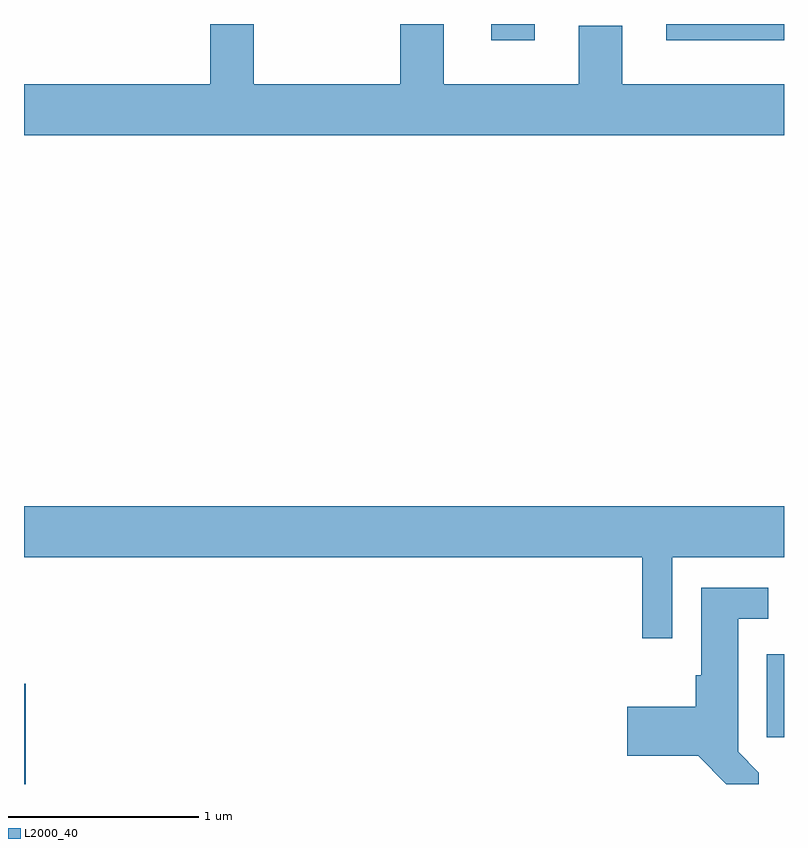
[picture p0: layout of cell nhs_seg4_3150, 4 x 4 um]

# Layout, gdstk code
import gdstk
lib = gdstk.Library(unit=1e-6, precision=1e-09)
def R(c, l, rs):  # rectangles x0, y0, x1, y1
    for r in rs: c.add(gdstk.rectangle(r[:2], r[2:], *l))
def P(c, l, *ps):  # polygons
    for p in ps: c.add(gdstk.Polygon(p, *l))
L2000_40 = (2000, 40)

nhs_seg4_3150 = lib.new_cell('nhs_seg4_3150')
R(nhs_seg4_3150, L2000_40, [(277.611,1297.982,277.619,1298.509), (281.521,1298.228,281.611,1298.664), (280.071,1301.896,280.299,1301.982), (280.991,1301.896,281.611,1301.982)])
P(nhs_seg4_3150, L2000_40, [(281.611,1301.664),(280.759,1301.664),(280.759,1301.974),(280.531,1301.974),(280.531,1301.664),(279.819,1301.664),(279.819,1301.982),(279.591,1301.982),(279.591,1301.664),(278.819,1301.664),(278.819,1301.982),(278.591,1301.982),(278.591,1301.664),(277.611,1301.664),(277.611,1301.396),(281.611,1301.396)],
  [(281.024,1299.176),(281.611,1299.176),(281.611,1299.444),(277.611,1299.444),(277.611,1299.176),(280.866,1299.176),(280.866,1298.748),(281.024,1298.748)],
  [(281.479,1298.042),(281.369,1298.152),(281.369,1298.851),(281.528,1298.851),(281.528,1299.014),(281.176,1299.014),(281.176,1298.554),(281.146,1298.554),(281.146,1298.389),(280.786,1298.389),(280.786,1298.131),(281.159,1298.131),(281.308,1297.982),(281.479,1297.982)])

lib.write_gds('nhs_seg4_3150.gds')
